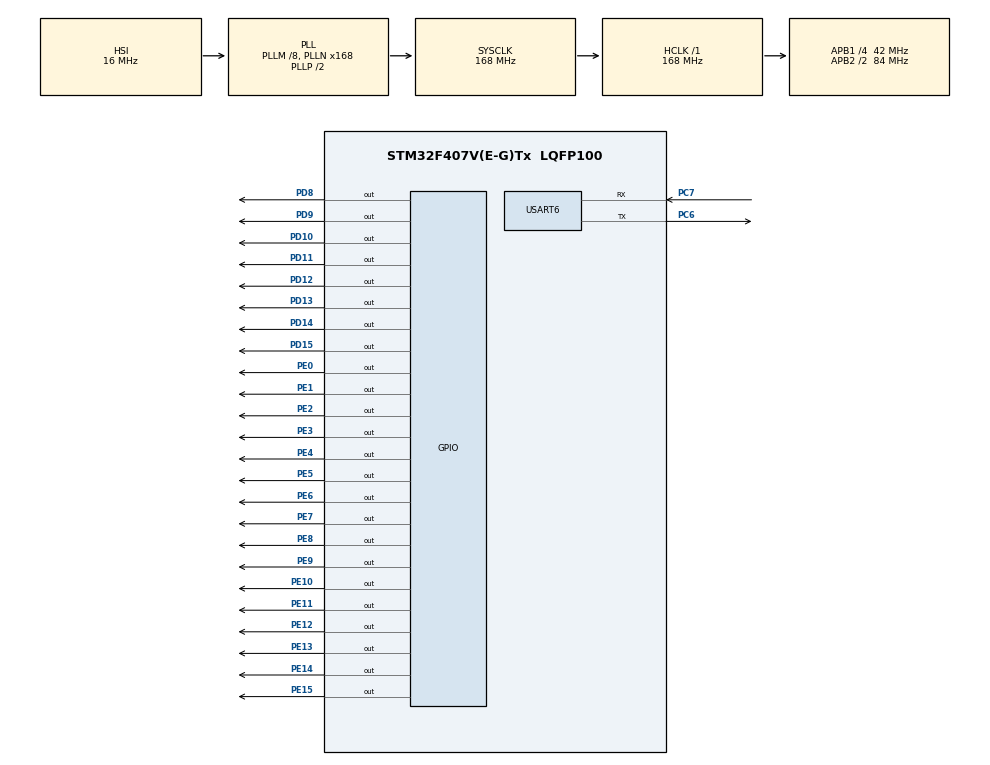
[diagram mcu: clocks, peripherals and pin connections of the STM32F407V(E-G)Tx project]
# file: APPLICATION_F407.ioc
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Mcu.Family=STM32F4
Mcu.Name=STM32F407V(E-G)Tx
Mcu.Package=LQFP100
NVIC.PriorityGroup=NVIC_PRIORITYGROUP_4
NVIC.USART6_IRQn=true\:0\:0\:false\:false\:true\:true\:true
PA13.Mode=Serial_Wire
PA13.Signal=SYS_JTMS-SWDIO
PA14.Mode=Serial_Wire
PA14.Signal=SYS_JTCK-SWCLK
PC6.Mode=Asynchronous
PC6.Signal=USART6_TX
PC7.Mode=Asynchronous
PC7.Signal=USART6_RX
PD10.Signal=GPIO_Output
PD11.Signal=GPIO_Output
PD12.Signal=GPIO_Output
PD13.Signal=GPIO_Output
PD14.Signal=GPIO_Output
PD15.Signal=GPIO_Output
PD8.Signal=GPIO_Output
PD9.Signal=GPIO_Output
PE0.Signal=GPIO_Output
PE1.Signal=GPIO_Output
PE10.Signal=GPIO_Output
PE11.Signal=GPIO_Output
PE12.Signal=GPIO_Output
PE13.Signal=GPIO_Output
PE14.Signal=GPIO_Output
PE15.Signal=GPIO_Output
PE2.Signal=GPIO_Output
PE3.Signal=GPIO_Output
PE4.Signal=GPIO_Output
PE5.Signal=GPIO_Output
PE6.Signal=GPIO_Output
PE7.Signal=GPIO_Output
PE8.Signal=GPIO_Output
PE9.Signal=GPIO_Output
PH0-OSC_IN.Mode=HSE-External-Oscillator
PH0-OSC_IN.Signal=RCC_OSC_IN
PH1-OSC_OUT.Mode=HSE-External-Oscillator
PH1-OSC_OUT.Signal=RCC_OSC_OUT
ProjectManager.HeapSize=0x200
ProjectManager.StackSize=0x400
ProjectManager.TargetToolchain=STM32CubeIDE
RCC.48MHZClocksFreq_Value=84000000
RCC.AHBFreq_Value=168000000
RCC.APB1CLKDivider=RCC_HCLK_DIV4
RCC.APB1Freq_Value=42000000
RCC.APB1TimFreq_Value=84000000
RCC.APB2CLKDivider=RCC_HCLK_DIV2
RCC.APB2Freq_Value=84000000
RCC.APB2TimFreq_Value=168000000
RCC.CortexFreq_Value=168000000
RCC.HCLKFreq_Value=168000000
RCC.HSE_VALUE=8000000
RCC.HSI_VALUE=16000000
RCC.LSE_VALUE=32768
RCC.PLLM=8
RCC.PLLN=168
RCC.SYSCLKFreq_VALUE=168000000
RCC.SYSCLKSource=RCC_SYSCLKSOURCE_PLLCLK
RCC.VCOOutputFreq_Value=336000000
USART6.VirtualMode=VM_ASYNC
board=custom

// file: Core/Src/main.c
/* USER CODE BEGIN Header */
/**
  ******************************************************************************
  * @file           : main.c
  * @brief          : Main program body
  ******************************************************************************
  * @attention
  *
  * Copyright (c) 2022 STMicroelectronics.
  * All rights reserved.
  *
  * This software is licensed under terms that can be found in the LICENSE file
  * in the root directory of this software component.
  * If no LICENSE file comes with this software, it is provided AS-IS.
  *
  ******************************************************************************
  */
/* USER CODE END Header */
#include "main.h"

/* USER CODE BEGIN Includes */
#include "Frame.h"
/* USER CODE END Includes */

UART_HandleTypeDef huart6;

void SystemClock_Config(void);
static void MX_GPIO_Init(void);
static void MX_USART6_UART_Init(void);

/* USER CODE BEGIN 0 */
uint8_t rx_buf[3] = {0,};
uint8_t count = 0;
uint8_t flag  = 0;
uint8_t rx = 0;
static uint8_t status = 0;
uint8_t rx_header[15] = {0,};

uint32_t crc = 0;
static void goto_bootloader()
{
//  printf("Gonna Jump to Application\r\n");

  void (*app_reset_handler)(void) = (void*)(*((volatile uint32_t*) (0x08020000 + 4U)));

//  __disable_irq();
//  __set_MSP(*(volatile uint32_t*) 0x08020000);

  // Turn OFF the Green Led to tell the user that Bootloader is not running
//  HAL_GPIO_WritePin(GPIOB, GPIO_PIN_0, GPIO_PIN_RESET );    //Green LED OFF
  app_reset_handler();    //call the app reset handler
}

void HAL_UART_RxCpltCallback(UART_HandleTypeDef *huart){
	if(huart->Instance == huart6.Instance){
			if(!strncmp("OTA",(char*)rx_buf, 3)){
				Frame_ReadCfg(&Flash_Cfg);
				Flash_Cfg.ResetCause = RESET_OTA;
				Frame_WriteCfg(&Flash_Cfg);
//				goto_bootloader();
				HAL_NVIC_SystemReset();
				flag = 1;
			}
			else{
				HAL_UART_Receive_IT(&huart6, rx_buf, 3);
			}
			memset(rx_buf, 0, 3);
	}
}
defFlashCfg	Flash_Cfg1;
/* USER CODE END 0 */

int main(void)
{

  /* MCU Configuration--------------------------------------------------------*/

  /* Reset of all peripherals, Initializes the Flash interface and the Systick. */
  HAL_Init();

  /* Configure the system clock */
  SystemClock_Config();

  /* Initialize all configured peripherals */
  MX_GPIO_Init();
  MX_USART6_UART_Init();
  /* USER CODE BEGIN 2 */
  HAL_UART_Receive_IT(&huart6, rx_buf, 3);
//  Frame_WriteCfg();
  uint16_t A = 0x0100;
  uint16_t B = 0x8000;
  /* USER CODE END 2 */

  /* Infinite loop */
  while (1)
  {

    /* USER CODE BEGIN 3 */
	  uint16_t cur = 0x0001;
	  for(int i = 0; i<16; i++){
		  GPIOE->ODR = cur<<i;
		  HAL_Delay(30);
	  }
	  uint16_t cur1 = 0x0003;
	  for(int i = 0; i<16; i++){
		  GPIOE->ODR = cur1<<i;
		  HAL_Delay(30);
	  }
	  uint16_t cur2 = 0x0007;
	  for(int i = 0; i<16; i++){
		  GPIOE->ODR = cur2<<i;
		  HAL_Delay(30);
	  }
	  uint16_t cur3 = 0x000F;
	  for(int i = 0; i<16; i++){
		  GPIOE->ODR = cur3<<i;
		  HAL_Delay(30);
	  }
//	  HAL_GPIO_TogglePin(GPIOD, GPIO_PIN_13);
//	  HAL_GPIO_TogglePin(GPIOD, GPIO_PIN_14);
//	  HAL_GPIO_TogglePin(GPIOD, GPIO_PIN_12);
//	  HAL_GPIO_TogglePin(GPIOD, GPIO_PIN_15);
//	  HAL_Delay(80);
  }
  /* USER CODE END 3 */
}

void SystemClock_Config(void)
{
  RCC_OscInitTypeDef RCC_OscInitStruct = {0};
  RCC_ClkInitTypeDef RCC_ClkInitStruct = {0};

  /** Configure the main internal regulator output voltage
  */
  __HAL_RCC_PWR_CLK_ENABLE();
  __HAL_PWR_VOLTAGESCALING_CONFIG(PWR_REGULATOR_VOLTAGE_SCALE1);
  /** Initializes the RCC Oscillators according to the specified parameters
  * in the RCC_OscInitTypeDef structure.
  */
  RCC_OscInitStruct.OscillatorType = RCC_OSCILLATORTYPE_HSI;
  RCC_OscInitStruct.HSIState = RCC_HSI_ON;
  RCC_OscInitStruct.HSICalibrationValue = RCC_HSICALIBRATION_DEFAULT;
  RCC_OscInitStruct.PLL.PLLState = RCC_PLL_ON;
  RCC_OscInitStruct.PLL.PLLSource = RCC_PLLSOURCE_HSI;
  RCC_OscInitStruct.PLL.PLLM = 8;
  RCC_OscInitStruct.PLL.PLLN = 168;
  RCC_OscInitStruct.PLL.PLLP = RCC_PLLP_DIV2;
  RCC_OscInitStruct.PLL.PLLQ = 4;
  if (HAL_RCC_OscConfig(&RCC_OscInitStruct) != HAL_OK)
  {
    Error_Handler();
  }
  /** Initializes the CPU, AHB and APB buses clocks
  */
  RCC_ClkInitStruct.ClockType = RCC_CLOCKTYPE_HCLK|RCC_CLOCKTYPE_SYSCLK
                              |RCC_CLOCKTYPE_PCLK1|RCC_CLOCKTYPE_PCLK2;
  RCC_ClkInitStruct.SYSCLKSource = RCC_SYSCLKSOURCE_PLLCLK;
  RCC_ClkInitStruct.AHBCLKDivider = RCC_SYSCLK_DIV1;
  RCC_ClkInitStruct.APB1CLKDivider = RCC_HCLK_DIV4;
  RCC_ClkInitStruct.APB2CLKDivider = RCC_HCLK_DIV2;

  if (HAL_RCC_ClockConfig(&RCC_ClkInitStruct, FLASH_LATENCY_5) != HAL_OK)
  {
    Error_Handler();
  }
}

static void MX_USART6_UART_Init(void)
{

  huart6.Instance = USART6;
  huart6.Init.BaudRate = 115200;
  huart6.Init.WordLength = UART_WORDLENGTH_8B;
  huart6.Init.StopBits = UART_STOPBITS_1;
  huart6.Init.Parity = UART_PARITY_NONE;
  huart6.Init.Mode = UART_MODE_TX_RX;
  huart6.Init.HwFlowCtl = UART_HWCONTROL_NONE;
  huart6.Init.OverSampling = UART_OVERSAMPLING_16;
  if (HAL_UART_Init(&huart6) != HAL_OK)
  {
    Error_Handler();
  }

}

static void MX_GPIO_Init(void)
{
  GPIO_InitTypeDef GPIO_InitStruct = {0};

  /* GPIO Ports Clock Enable */
  __HAL_RCC_GPIOE_CLK_ENABLE();
  __HAL_RCC_GPIOH_CLK_ENABLE();
  __HAL_RCC_GPIOD_CLK_ENABLE();
  __HAL_RCC_GPIOC_CLK_ENABLE();
  __HAL_RCC_GPIOA_CLK_ENABLE();

  /*Configure GPIO pin Output Level */
  HAL_GPIO_WritePin(GPIOE, GPIO_PIN_2|GPIO_PIN_3|GPIO_PIN_4|GPIO_PIN_5
                          |GPIO_PIN_6|GPIO_PIN_7|GPIO_PIN_8|GPIO_PIN_9
                          |GPIO_PIN_10|GPIO_PIN_11|GPIO_PIN_12|GPIO_PIN_13
                          |GPIO_PIN_14|GPIO_PIN_15|GPIO_PIN_0|GPIO_PIN_1, GPIO_PIN_RESET);

  /*Configure GPIO pin Output Level */
  HAL_GPIO_WritePin(GPIOD, GPIO_PIN_8|GPIO_PIN_9|GPIO_PIN_10|GPIO_PIN_11
                          |GPIO_PIN_12|GPIO_PIN_13|GPIO_PIN_14|GPIO_PIN_15, GPIO_PIN_RESET);

  /*Configure GPIO pins : PE2 PE3 PE4 PE5
                           PE6 PE7 PE8 PE9
                           PE10 PE11 PE12 PE13
                           PE14 PE15 PE0 PE1 */
  GPIO_InitStruct.Pin = GPIO_PIN_2|GPIO_PIN_3|GPIO_PIN_4|GPIO_PIN_5
                          |GPIO_PIN_6|GPIO_PIN_7|GPIO_PIN_8|GPIO_PIN_9
                          |GPIO_PIN_10|GPIO_PIN_11|GPIO_PIN_12|GPIO_PIN_13
                          |GPIO_PIN_14|GPIO_PIN_15|GPIO_PIN_0|GPIO_PIN_1;
  GPIO_InitStruct.Mode = GPIO_MODE_OUTPUT_PP;
  GPIO_InitStruct.Pull = GPIO_NOPULL;
  GPIO_InitStruct.Speed = GPIO_SPEED_FREQ_LOW;
  HAL_GPIO_Init(GPIOE, &GPIO_InitStruct);

  /*Configure GPIO pins : PD8 PD9 PD10 PD11
                           PD12 PD13 PD14 PD15 */
  GPIO_InitStruct.Pin = GPIO_PIN_8|GPIO_PIN_9|GPIO_PIN_10|GPIO_PIN_11
                          |GPIO_PIN_12|GPIO_PIN_13|GPIO_PIN_14|GPIO_PIN_15;
  GPIO_InitStruct.Mode = GPIO_MODE_OUTPUT_PP;
  GPIO_InitStruct.Pull = GPIO_NOPULL;
  GPIO_InitStruct.Speed = GPIO_SPEED_FREQ_LOW;
  HAL_GPIO_Init(GPIOD, &GPIO_InitStruct);

}

void Error_Handler(void)
{
  __disable_irq();
  while (1)
  {
  }
}
